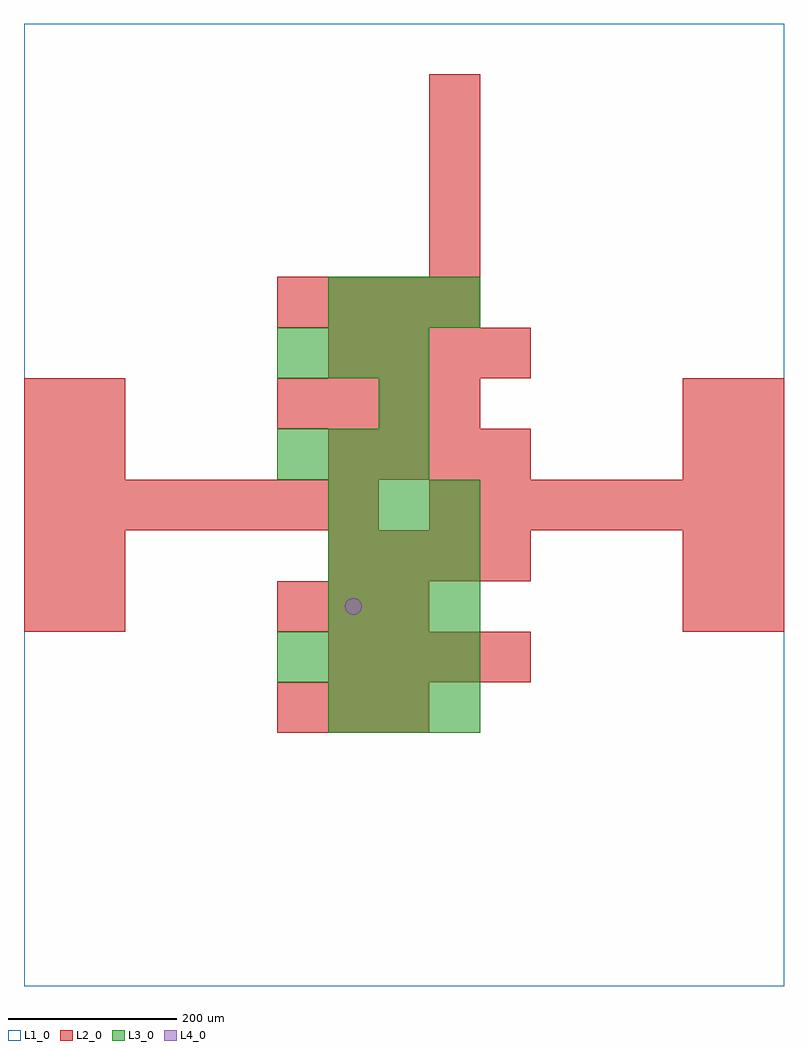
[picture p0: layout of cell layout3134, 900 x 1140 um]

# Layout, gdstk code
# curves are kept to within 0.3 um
import gdstk
lib = gdstk.Library(unit=1e-6, precision=1e-09)
def R(c, l, rs):  # rectangles x0, y0, x1, y1
    for r in rs: c.add(gdstk.rectangle(r[:2], r[2:], *l))
def A(c, l, x, y, w, h, nx, ny, dx, dy):  # array of equal rectangles
    R(c, l, [(x+i*dx, y+j*dy, x+i*dx+w, y+j*dy+h) for i in range(nx) for j in range(ny)])
def P(c, l, *ps):  # polygons
    for p in ps: c.add(gdstk.Polygon(p, *l))
L1_0 = (1, 0)
L2_0 = (2, 0)
L3_0 = (3, 0)
L4_0 = (4, 0)

layout3134 = lib.new_cell('layout3134')
R(layout3134, L1_0, [(0,0,900,1140)])
A(layout3134, L2_0, 300, 300, 60, 60, 3, 2, 60, 120)
A(layout3134, L2_0, 360, 360, 60, 60, 4, 4, 60, 120)
A(layout3134, L2_0, 0, 540, 60, 60, 7, 1, 60, 0)
A(layout3134, L2_0, 480, 540, 60, 60, 7, 1, 60, 0)
A(layout3134, L2_0, 300, 660, 60, 60, 4, 2, 60, 120)
A(layout3134, L2_0, 480, 840, 60, 60, 1, 4, 0, 60)
R(layout3134, L2_0, [(0,420,60,480), (60,420,120,480), (780,420,840,480), (840,420,900,480), (0,480,60,540), (60,480,120,540), (780,480,840,540), (840,480,900,540), (0,600,60,660), (60,600,120,660), (780,600,840,660), (840,600,900,660), (0,660,60,720), (60,660,120,720), (780,660,840,720), (840,660,900,720)])
A(layout3134, L3_0, 360, 300, 60, 60, 3, 2, 60, 120)
A(layout3134, L3_0, 300, 360, 60, 60, 4, 1, 60, 0)
A(layout3134, L3_0, 360, 480, 60, 60, 3, 2, 60, 60)
A(layout3134, L3_0, 300, 600, 60, 60, 3, 2, 60, 120)
A(layout3134, L3_0, 360, 780, 60, 60, 3, 1, 60, 0)
R(layout3134, L3_0, [(420,660,480,720)])
P(layout3134, L4_0, [(400,450),(399.239,453.827),(397.071,457.071),(393.827,459.239),(390,460),(386.173,459.239),(382.929,457.071),(380.761,453.827),(380,450),(380.761,446.173),(382.929,442.929),(386.173,440.761),(390,440),(393.827,440.761),(397.071,442.929),(399.239,446.173)])

lib.write_gds('layout3134.gds')
